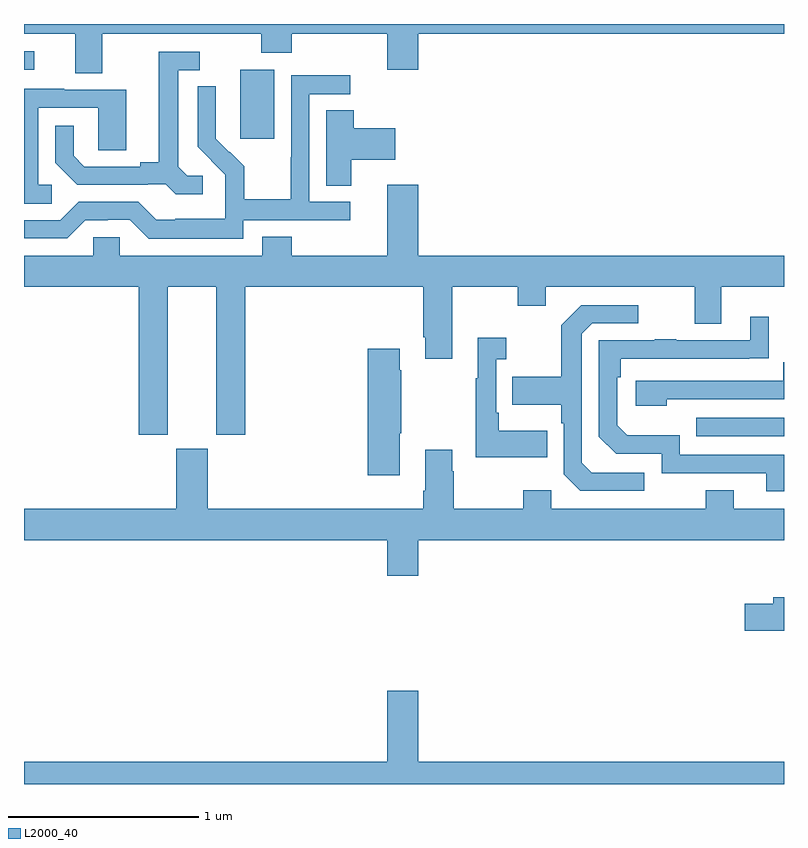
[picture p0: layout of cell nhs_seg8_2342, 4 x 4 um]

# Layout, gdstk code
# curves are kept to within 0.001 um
import gdstk
lib = gdstk.Library(unit=1e-6, precision=1e-09)
def R(c, l, rs):  # rectangles x0, y0, x1, y1
    for r in rs: c.add(gdstk.rectangle(r[:2], r[2:], *l))
def P(c, l, *ps):  # polygons
    for p in ps: c.add(gdstk.Polygon(p, *l))
L2000_40 = (2000, 40)

nhs_seg8_2342 = lib.new_cell('nhs_seg8_2342')
R(nhs_seg8_2342, L2000_40, [(262.537,1099.731,263,1099.827), (260.138,1101.297,260.317,1101.658), (259,1101.66,259.054,1101.756)])
P(nhs_seg8_2342, L2000_40, [(259.411,1101.848),(260.248,1101.848),(260.248,1101.749),(260.408,1101.749),(260.408,1101.848),(260.912,1101.848),(260.912,1101.66),(261.076,1101.66),(261.076,1101.848),(263,1101.848),(263,1101.9),(259,1101.9),(259,1101.848),(259.271,1101.848),(259.271,1101.64),(259.411,1101.64)],
  [(259.942,1101.102),(259.86,1101.102),(259.813,1101.149),(259.813,1101.657),(259.924,1101.657),(259.924,1101.753),(259.709,1101.753),(259.709,1101.173),(259.613,1101.173),(259.613,1101.15),(259.318,1101.15),(259.261,1101.207),(259.261,1101.364),(259.164,1101.364),(259.164,1101.17),(259.28,1101.054),(259.652,1101.054),(259.652,1101.057),(259.746,1101.057),(259.798,1101.005),(259.942,1101.005)],
  [(260.154,1100.868),(260.716,1100.868),(260.716,1100.964),(260.502,1100.964),(260.502,1101.531),(260.716,1101.531),(260.716,1101.63),(260.406,1101.63),(260.406,1101.2),(260.404,1101.2),(260.404,1100.977),(260.159,1100.977),(260.159,1101.151),(260.082,1101.228),(260.079,1101.225),(260.009,1101.296),(260.01,1101.572),(259.914,1101.572),(259.914,1101.254),(260.06,1101.106),(260.06,1101.009),(260.058,1101.009),(260.058,1100.875),(259.795,1100.875),(259.795,1100.871),(259.695,1100.871),(259.602,1100.964),(259.287,1100.964),(259.191,1100.868),(259,1100.868),(259,1100.772),(259.227,1100.772),(259.323,1100.868),(259.442,1100.868),(259.442,1100.871),(259.557,1100.871),(259.657,1100.771),(260.154,1100.771)],
  [(259.147,1101.054),(259.074,1101.054),(259.074,1101.459),(259.392,1101.459),(259.392,1101.235),(259.537,1101.235),(259.537,1101.555),(259.213,1101.555),(259.213,1101.559),(259,1101.559),(259,1100.953),(259.147,1100.953)],
  [(260.722,1101.185),(260.953,1101.185),(260.953,1101.351),(260.735,1101.351),(260.735,1101.446),(260.591,1101.446),(260.591,1101.049),(260.722,1101.049)],
  [(259.756,1100.516),(260.012,1100.516),(260.012,1099.737),(260.165,1099.737),(260.165,1100.516),(261.101,1100.516),(261.101,1100.251),(261.113,1100.251),(261.113,1100.139),(261.253,1100.139),(261.253,1100.516),(261.598,1100.516),(261.598,1100.417),(261.745,1100.417),(261.745,1100.516),(262.529,1100.516),(262.529,1100.322),(262.669,1100.322),(262.669,1100.516),(263,1100.516),(263,1100.68),(261.076,1100.68),(261.076,1101.055),(260.912,1101.055),(260.912,1100.68),(260.408,1100.68),(260.408,1100.779),(260.255,1100.779),(260.255,1100.68),(259.503,1100.68),(259.503,1100.778),(259.365,1100.778),(259.365,1100.68),(259,1100.68),(259,1100.516),(259.604,1100.516),(259.604,1099.737),(259.756,1099.737)],
  [(262.264,1099.539),(261.987,1099.539),(261.936,1099.59),(261.936,1100.271),(261.99,1100.325),(262.234,1100.325),(262.234,1100.421),(261.933,1100.421),(261.828,1100.315),(261.828,1100.043),(261.571,1100.043),(261.571,1099.895),(261.828,1099.895),(261.828,1099.799),(261.84,1099.799),(261.84,1099.53),(261.927,1099.443),(262.264,1099.443)],
  [(263,1099.632),(262.452,1099.632),(262.452,1099.735),(262.175,1099.735),(262.122,1099.788),(262.122,1100.042),(262.142,1100.042),(262.142,1100.139),(262.919,1100.14),(262.919,1100.359),(262.823,1100.359),(262.823,1100.235),(262.433,1100.235),(262.433,1100.24),(262.321,1100.24),(262.321,1100.235),(262.026,1100.235),(262.026,1099.728),(262.116,1099.638),(262.356,1099.638),(262.356,1099.536),(262.907,1099.536),(262.907,1099.44),(263,1099.44)],
  [(261.755,1099.759),(261.499,1099.759),(261.499,1099.855),(261.486,1099.855),(261.486,1100.135),(261.538,1100.135),(261.538,1100.248),(261.389,1100.248),(261.389,1100.035),(261.378,1100.035),(261.378,1099.619),(261.755,1099.619)],
  [(260.977,1099.747),(260.985,1099.747),(260.985,1100.078),(260.977,1100.078),(260.977,1100.191),(260.81,1100.191),(260.81,1099.524),(260.977,1099.524)],
  [(262.382,1099.926),(263,1099.926),(263,1100.119),(262.997,1100.119),(262.997,1100.022),(262.221,1100.022),(262.221,1099.892),(262.382,1099.892)],
  [(261.076,1099.184),(263,1099.184),(263,1099.348),(262.735,1099.348),(262.735,1099.447),(262.588,1099.447),(262.588,1099.348),(261.774,1099.348),(261.774,1099.447),(261.628,1099.447),(261.628,1099.348),(261.261,1099.348),(261.261,1099.547),(261.253,1099.547),(261.253,1099.66),(261.113,1099.66),(261.113,1099.444),(261.101,1099.444),(261.101,1099.348),(259.966,1099.348),(259.966,1099.665),(259.802,1099.665),(259.802,1099.348),(259,1099.348),(259,1099.184),(260.912,1099.184),(260.912,1098.996),(261.076,1098.996)],
  [(263,1098.883),(262.943,1098.883),(262.943,1098.849),(262.794,1098.849),(262.794,1098.707),(263,1098.707)],
  [(263,1098.016),(261.076,1098.016),(261.076,1098.391),(260.912,1098.391),(260.912,1098.016),(259,1098.016),(259,1097.9),(263,1097.9)])

lib.write_gds('nhs_seg8_2342.gds')
